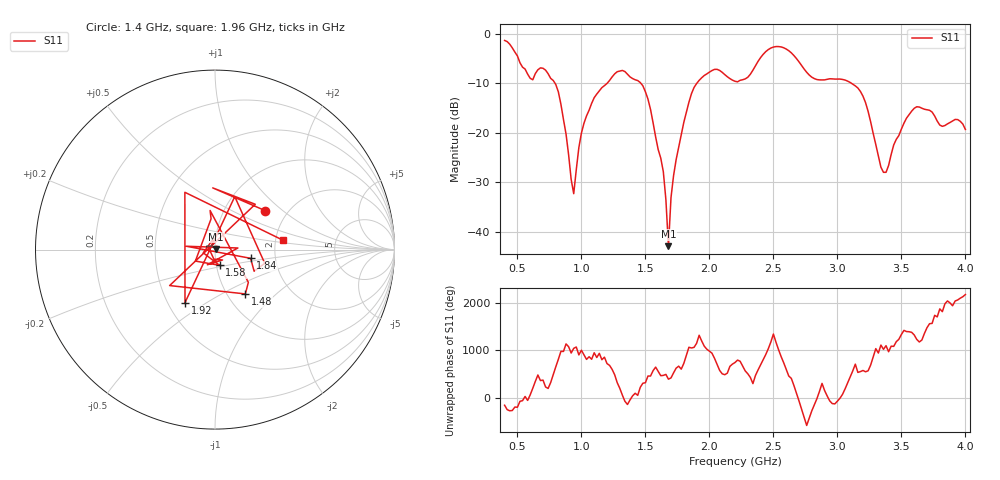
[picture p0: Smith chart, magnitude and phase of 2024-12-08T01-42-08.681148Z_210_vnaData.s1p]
!Created with skrf (http://scikit-rf.org).
# Hz S RI R 50.0
!freq ReS11 ImS11
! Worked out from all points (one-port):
!   181 points, 400 MHz to 4 GHz, reference 50 ohm
!   lowest |S11| = -42.9 dB at 1.68 GHz (marker M1), VSWR 1.01, Z = 50.6 + j0.373 ohm
!   |S11| at or under -10 dB: 794.4 MHz to 1.2 GHz (405.8 MHz wide, 40.7 % of centre); 1.465 GHz to 1.901 GHz (435.6 MHz wide, 25.9 % of centre); 3.111 GHz to end of sweep
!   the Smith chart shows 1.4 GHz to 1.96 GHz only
!   S11 on the Smith chart (normalised r, x): 1.4 GHz: 1.54, +0.77; 1.48 GHz: 1.21, -0.66; 1.58 GHz: 1.04, -0.18; 1.84 GHz: 1.49, -0.15; 1.92 GHz: 0.61, -0.41; 1.96 GHz: 2.18, +0.27
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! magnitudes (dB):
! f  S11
! 400 MHz  -1.3
! 600 MHz  -9.0
! 720 MHz  -7.3
! 800 MHz  -10.2
! 860 MHz  -17.3
! 940 MHz  -32.3
! 980 MHz  -23.0
! 1.04 GHz  -16.6
! 1.3 GHz  -7.5
! 1.4 GHz  -9.0
! 1.48 GHz  -10.5
! 1.58 GHz  -20.8
! 1.64 GHz  -27.8
! 1.68 GHz  -42.9
! 1.7 GHz  -33.1
! 1.76 GHz  -22.9
! 1.84 GHz  -13.8
! 1.92 GHz  -9.4
! 1.96 GHz  -8.4
! 2.2 GHz  -9.6
! 2.48 GHz  -2.9
! 2.66 GHz  -4.4
! 2.82 GHz  -9.0
! 3.1 GHz  -9.8
! 3.22 GHz  -13.9
! 3.36 GHz  -28.0
! 3.56 GHz  -16.3
! 4 GHz  -19.3
